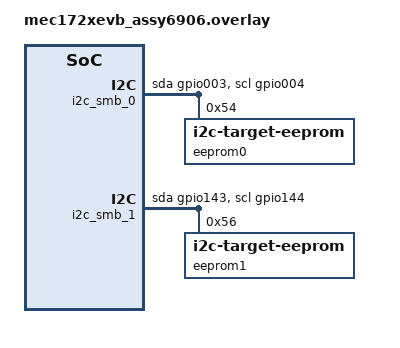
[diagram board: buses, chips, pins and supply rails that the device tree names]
/*
 * Copyright (c) 2026 Microchip Technology Inc.
 *
 * SPDX-License-Identifier: Apache-2.0
 */


&i2c_smb_0 {
	compatible = "microchip,xec-i2c-v2";
	port-sel = <0>;
	pinctrl-0 = <&i2c00_sda_gpio003 &i2c00_scl_gpio004>;
	pinctrl-names = "default";
	scl-gpios = <MCHP_GPIO_DECODE_004 GPIO_OPEN_DRAIN>;
	sda-gpios = <MCHP_GPIO_DECODE_003 GPIO_OPEN_DRAIN>;
	status = "okay";

	eeprom0: eeprom@54 {
		compatible = "zephyr,i2c-target-eeprom";
		reg = <0x54>;
		address-width = <16>;
		size = <1024>;
	};
};

&i2c_smb_1 {
	compatible = "microchip,xec-i2c-v2";
	port-sel = <4>;
	pinctrl-0 = <&i2c04_sda_gpio143 &i2c04_scl_gpio144>;
	pinctrl-names = "default";
	scl-gpios = <MCHP_GPIO_DECODE_144 GPIO_OPEN_DRAIN>;
	sda-gpios = <MCHP_GPIO_DECODE_143 GPIO_OPEN_DRAIN>;
	status = "okay";

	eeprom1: eeprom@56 {
		compatible = "zephyr,i2c-target-eeprom";
		reg = <0x56>;
		address-width = <16>;
		size = <1024>;
	};
};

&i2c00_sda_gpio003 {
	drive-open-drain;
};

&i2c00_scl_gpio004 {
	drive-open-drain;
};

&i2c04_sda_gpio143 {
	drive-open-drain;
};

&i2c04_scl_gpio144 {
	drive-open-drain;
};
